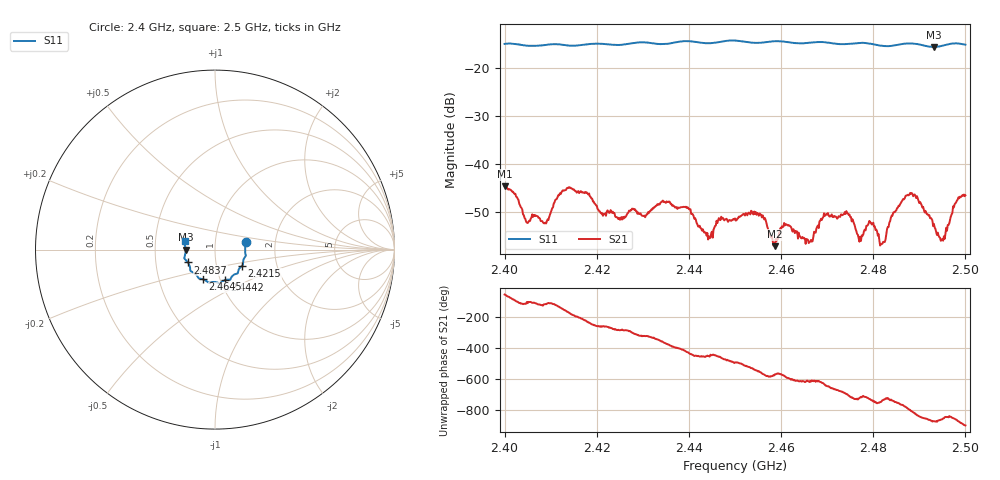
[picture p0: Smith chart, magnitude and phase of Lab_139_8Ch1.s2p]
# Hz S RI R 50
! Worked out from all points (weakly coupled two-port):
!   601 points, 2.4 GHz to 2.5 GHz, reference 50 ohm
!   highest |S21| = -44.72 dB at 2.4 GHz (marker M1); lowest = -57.2 dB at 2.4587 GHz (marker M2)
!   lowest |S11| = -15.7 dB at 2.4932 GHz (marker M3), VSWR 1.39, Z = 35.9 - j0.0564 ohm
!   |S11| at or under -10 dB: start of sweep to end of sweep
!   S12 and S22 are empty: the file has one direction only
!   S11 on the Smith chart (normalised r, x): 2.4 GHz: 1.41, +0.12; 2.4215 GHz: 1.33, -0.25; 2.4442 GHz: 1.05, -0.37; 2.4645 GHz: 0.83, -0.29; 2.4837 GHz: 0.73, -0.11; 2.5 GHz: 0.71, +0.07
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2.4e9  0.1713 0.0405  0.00305 -0.00494  0 0  0 0
2.405e9  0.1682 0.00936  -0.000975 -0.0022  0 0  0 0
2.416667e9  0.1565 -0.0697  -0.00423 0.00287  0 0  0 0
2.4215e9  0.1513 -0.0896  -0.0004 0.00295  0 0  0 0
2.433333e9  0.1083 -0.1384  0.00366 0.000688  0 0  0 0
2.439833e9  0.0835 -0.1686  0.00112 -0.00329  0 0  0 0
2.444167e9  0.0566 -0.1694  -0.000137 -0.00162  0 0  0 0
2.45e9  0.0252 -0.1891  -0.00192 -0.00188  0 0  0 0
2.4555e9  -0.0125 -0.1806  -0.00281 0.000927  0 0  0 0
2.458667e9  -0.0312 -0.1851  -0.00117 0.000738  0 0  0 0
2.461167e9  -0.0404 -0.1801  -0.00139 0.00187  0 0  0 0
2.4645e9  -0.0658 -0.1659  -0.000302 0.00164  0 0  0 0
2.466667e9  -0.0826 -0.1621  -0.000497 0.00146  0 0  0 0
2.469833e9  -0.0935 -0.1568  0.000802 0.00288  0 0  0 0
2.4795e9  -0.1382 -0.1095  0.00232 -0.000716  0 0  0 0
2.482e9  -0.1422 -0.0895  0.00139 -0.000482  0 0  0 0
2.483333e9  -0.1489 -0.0751  0.00215 -0.000409  0 0  0 0
2.483667e9  -0.151 -0.0718  0.00237 -0.000844  0 0  0 0
2.4885e9  -0.1713 -0.0467  -0.00032 -0.00485  0 0  0 0
2.493167e9  -0.1635 -0.000763  -0.00212 -0.00103  0 0  0 0
2.495167e9  -0.1675 0.0224  -0.00115 -0.00108  0 0  0 0
2.5e9  -0.1651 0.0505  -0.00467 0.000148  0 0  0 0
